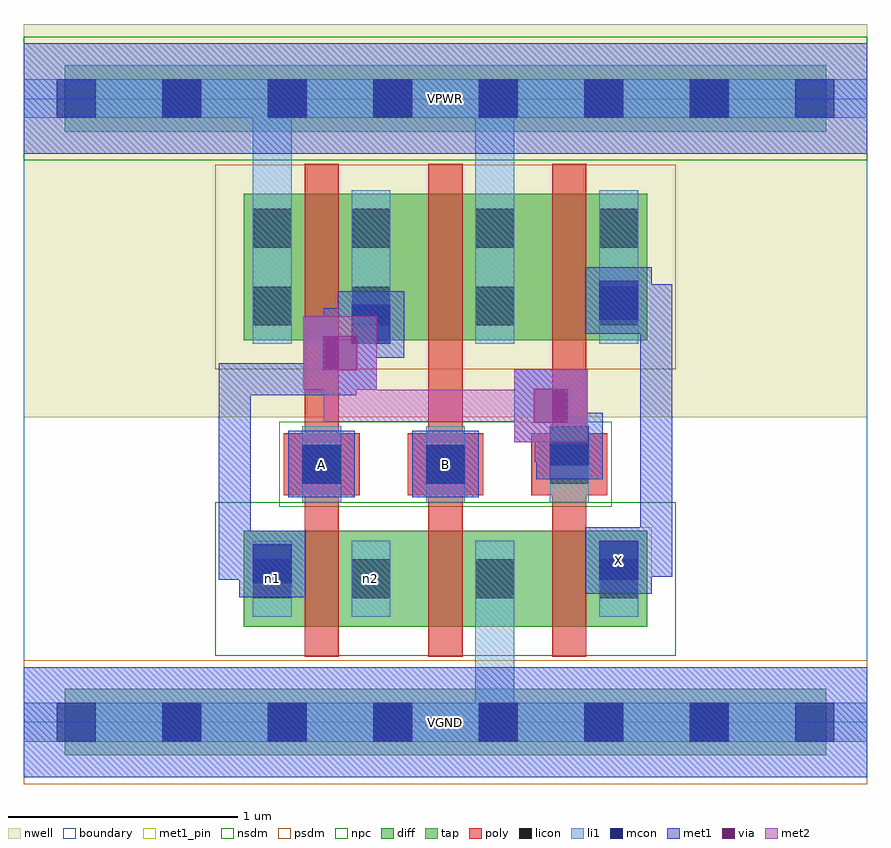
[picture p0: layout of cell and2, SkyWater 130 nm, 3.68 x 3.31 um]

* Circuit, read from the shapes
.subckt and2 A B VGND VPWR X n1 n2
XM1 n2 A n1 VGND sky130_fd_pr__nfet_01v8 w=0.42 l=0.15
XM2 VGND B n2 VGND sky130_fd_pr__nfet_01v8 w=0.42 l=0.15
XM3 X n1 VGND VGND sky130_fd_pr__nfet_01v8 w=0.42 l=0.15
XM4 n1 A VPWR VPWR sky130_fd_pr__pfet_01v8 w=0.64 l=0.15
XM5 VPWR B n1 VPWR sky130_fd_pr__pfet_01v8 w=0.64 l=0.15
XM6 X n1 VPWR VPWR sky130_fd_pr__pfet_01v8 w=0.64 l=0.15
.ends

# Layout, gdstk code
import gdstk
lib = gdstk.Library(unit=1e-6, precision=1e-09)
def R(c, l, rs):  # rectangles x0, y0, x1, y1
    for r in rs: c.add(gdstk.rectangle(r[:2], r[2:], *l))
def A(c, l, x, y, w, h, nx, ny, dx, dy):  # array of equal rectangles
    R(c, l, [(x+i*dx, y+j*dy, x+i*dx+w, y+j*dy+h) for i in range(nx) for j in range(ny)])
nwell = (64, 20)
diff = (65, 20)
tap = (65, 44)
poly = (66, 20)
licon = (66, 44)
li1 = (67, 20)
mcon = (67, 44)
met1_pin = (68, 16)
met1 = (68, 20)
via = (68, 44)
met2 = (69, 20)
nsdm = (93, 44)
psdm = (94, 20)
npc = (95, 20)
boundary = (235, 4)

and2 = lib.new_cell('and2')
R(and2, nwell, [(0,1.33,3.68,3.045)])
R(and2, diff, [(0.96,0.415,2.72,0.835), (0.96,1.665,2.72,2.305)])
R(and2, tap, [(0.18,-0.145,3.5,0.145), (0.18,2.575,3.5,2.865)])
A(and2, poly, 1.225, 0.285, 0.15, 2.15, 3, 1, 0.54, 0)
A(and2, poly, 1.135, 0.99, 0.33, 0.27, 3, 1, 0.54, 0)
A(and2, licon, 0.605, -0.085, 0.17, 0.17, 6, 2, 0.46, 2.72)
A(and2, licon, 1.43, 0.54, 0.17, 0.17, 3, 2, 0.54, 1.19)
A(and2, licon, 1.215, 1.04, 0.17, 0.17, 3, 1, 0.54, 0)
A(and2, licon, 1.43, 2.07, 0.17, 0.17, 3, 1, 0.54, 0)
R(and2, licon, [(1,0.54,1.17,0.71), (1,1.73,1.17,1.9), (1,2.07,1.17,2.24)])
A(and2, li1, 1.43, 0.46, 0.17, 0.33, 3, 1, 0.54, 0)
A(and2, li1, 1.215, 0.96, 0.17, 0.33, 3, 1, 0.54, 0)
A(and2, li1, 1.43, 1.65, 0.17, 0.67, 3, 1, 0.54, 0)
R(and2, li1, [(0,-0.085,3.68,0.085), (1.97,-0.085,2.14,0.79), (1,0.46,1.17,0.79), (1,1.65,1.17,2.32), (1,1.65,1.17,2.805), (1.97,1.65,2.14,2.805), (0,2.635,3.68,2.805)])
A(and2, mcon, 0.145, -0.085, 0.17, 0.17, 8, 2, 0.46, 2.72)
R(and2, mcon, [(1,0.605,1.17,0.775), (2.51,0.62,2.68,0.79), (1.215,1.04,1.385,1.21), (1.755,1.04,1.925,1.21), (2.295,1.12,2.465,1.29), (1.43,1.65,1.6,1.82), (2.51,1.755,2.68,1.925)])
R(and2, met1_pin, [(0,-0.24,3.68,0.24), (2.45,0.56,2.74,0.85), (1.155,0.98,1.445,1.27), (1.695,0.98,1.985,1.27), (0,2.48,3.68,2.96)])
R(and2, met1, [(0,-0.24,3.68,0.24), (0.94,0.545,1.23,0.835), (2.45,0.56,2.74,0.85), (0.85,0.62,1.155,0.76), (0.85,0.62,0.99,1.565), (2.525,0.635,2.83,0.775), (2.69,0.635,2.83,0.875), (2.69,0.735,2.83,1.91), (1.155,0.98,1.445,1.27), (1.695,0.98,1.985,1.27), (2.235,1.06,2.525,1.35), (2.23,1.135,2.45,1.275), (2.23,1.135,2.37,1.45), (2.14,1.22,2.46,1.54), (0.85,1.425,1.45,1.565), (1.31,1.425,1.45,1.68), (1.22,1.45,1.54,1.77), (1.31,1.54,1.45,1.805), (1.37,1.59,1.66,1.88), (1.31,1.665,1.585,1.805), (2.45,1.695,2.74,1.985), (2.525,1.77,2.83,1.91), (0,2.48,3.68,2.96)])
R(and2, via, [(2.225,1.305,2.375,1.455), (1.305,1.535,1.455,1.685)])
R(and2, met2, [(2.14,1.22,2.46,1.54), (1.31,1.31,1.45,1.68), (1.31,1.31,2.37,1.45), (1.22,1.45,1.54,1.77)])
R(and2, nsdm, [(0.835,0.29,2.845,0.96), (0,2.45,3.68,2.99)])
R(and2, psdm, [(0,-0.27,3.68,0.27), (0.835,1.54,2.845,2.43)])
R(and2, npc, [(1.115,0.94,2.565,1.31)])
R(and2, boundary, [(0,0,3.68,2.72)])
and2.add(gdstk.Label('n1', (1.085,0.625), layer=67, texttype=5))
and2.add(gdstk.Label('n2', (1.515,0.625), layer=67, texttype=5))
and2.add(gdstk.Label('A', (1.3,1.125), layer=68, texttype=5))
and2.add(gdstk.Label('B', (1.84,1.125), layer=68, texttype=5))
and2.add(gdstk.Label('X', (2.595,0.705), layer=68, texttype=5))
and2.add(gdstk.Label('VPWR', (1.84,2.72), layer=68, texttype=5))
and2.add(gdstk.Label('VGND', (1.84,0), layer=68, texttype=5))
and2.add(gdstk.Label('A', (1.3,1.125), layer=68, texttype=16))
and2.add(gdstk.Label('B', (1.84,1.125), layer=68, texttype=16))
and2.add(gdstk.Label('X', (2.595,0.705), layer=68, texttype=16))
and2.add(gdstk.Label('VPWR', (1.84,2.72), layer=68, texttype=16))
and2.add(gdstk.Label('VGND', (1.84,0), layer=68, texttype=16))

lib.write_gds('and2.gds')
